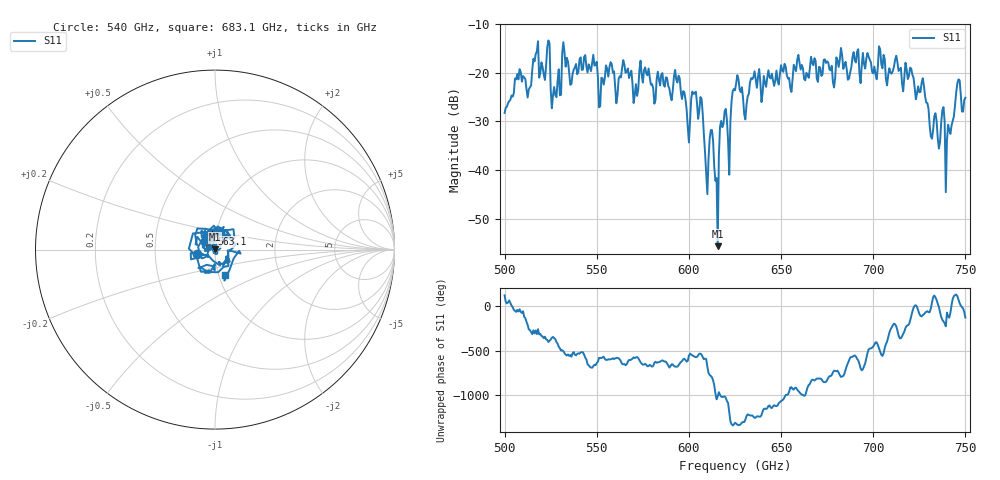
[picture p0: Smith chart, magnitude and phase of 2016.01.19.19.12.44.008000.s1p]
!Created with skrf (http://scikit-rf.org).
# GHz S RI R 50.0
!freq ReS11 ImS11
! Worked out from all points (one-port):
!   401 points, 500 GHz to 750 GHz, reference 50 ohm
!   lowest |S11| = -55.7 dB at 615.6 GHz (marker M1), VSWR 1.00, Z = 50.1 + j0.151 ohm
!   |S11| at or under -10 dB: start of sweep to end of sweep
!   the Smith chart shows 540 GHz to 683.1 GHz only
!   S11 on the Smith chart (normalised r, x): 540 GHz: 0.82, -0.04; 563.1 GHz: 0.95, +0.17; 683.1 GHz: 1.07, -0.31
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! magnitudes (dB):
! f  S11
! 500 GHz  -28.2
! 507.5 GHz  -21.4
! 513.1 GHz  -23.4
! 516.9 GHz  -16.1
! 523.8 GHz  -13.3
! 526.9 GHz  -22.9
! 531.2 GHz  -16.0
! 540 GHz  -19.9
! 562.5 GHz  -20.7
! 563.1 GHz  -21.0
! 593.8 GHz  -22.0
! 599.4 GHz  -31.1
! 606.2 GHz  -25.0
! 609.4 GHz  -40.6
! 611.9 GHz  -31.8
! 615.6 GHz  -55.7
! 618.1 GHz  -31.2
! 621.9 GHz  -41.0
! 625 GHz  -23.6
! 630.6 GHz  -29.6
! 634.4 GHz  -21.3
! 656.2 GHz  -21.3
! 683.1 GHz  -16.4
! 687.5 GHz  -19.9
! 718.8 GHz  -21.3
! 740.6 GHz  -30.7
! 745.6 GHz  -22.2
! 750 GHz  -25.1
